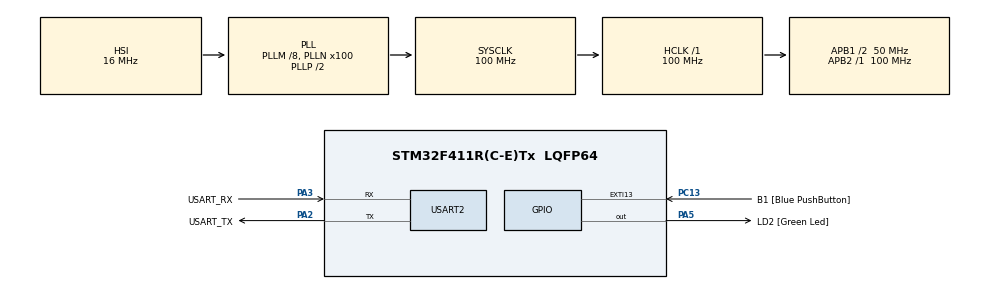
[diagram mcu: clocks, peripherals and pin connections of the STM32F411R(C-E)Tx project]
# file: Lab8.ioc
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Mcu.Family=STM32F4
Mcu.Name=STM32F411R(C-E)Tx
Mcu.Package=LQFP64
NVIC.EXTI15_10_IRQn=true\:0\:0\:false\:false\:true\:true\:true
NVIC.PriorityGroup=NVIC_PRIORITYGROUP_0
NVIC.TIM2_IRQn=true\:0\:0\:false\:false\:true\:true\:true
NVIC.USART2_IRQn=true\:0\:0\:false\:false\:true\:true\:true
PA13.GPIO_Label=TMS
PA13.Mode=Serial_Wire
PA13.Signal=SYS_JTMS-SWDIO
PA14.GPIO_Label=TCK
PA14.Mode=Serial_Wire
PA14.Signal=SYS_JTCK-SWCLK
PA2.GPIO_Label=USART_TX
PA2.Mode=Asynchronous
PA2.Signal=USART2_TX
PA3.GPIO_Label=USART_RX
PA3.Mode=Asynchronous
PA3.Signal=USART2_RX
PA5.GPIO_Label=LD2 [Green Led]
PA5.Signal=GPIO_Output
PB3.GPIO_Label=SWO
PB3.Signal=SYS_JTDO-SWO
PC13-ANTI_TAMP.GPIO_Label=B1 [Blue PushButton]
PC13-ANTI_TAMP.GPIO_ModeDefaultEXTI=GPIO_MODE_IT_RISING_FALLING
PC13-ANTI_TAMP.Signal=GPXTI13
PC14-OSC32_IN.Mode=LSE-External-Oscillator
PC14-OSC32_IN.Signal=RCC_OSC32_IN
PC15-OSC32_OUT.Mode=LSE-External-Oscillator
PC15-OSC32_OUT.Signal=RCC_OSC32_OUT
PH0\ -\ OSC_IN.Mode=HSE-External-Clock-Source
PH0\ -\ OSC_IN.Signal=RCC_OSC_IN
PH1\ -\ OSC_OUT.Mode=HSE-External-Clock-Source
PH1\ -\ OSC_OUT.Signal=RCC_OSC_OUT
ProjectManager.HeapSize=0x200
ProjectManager.StackSize=0x400
ProjectManager.TargetToolchain=STM32CubeIDE
RCC.48MHZClocksFreq_Value=50000000
RCC.AHBFreq_Value=100000000
RCC.APB1CLKDivider=RCC_HCLK_DIV2
RCC.APB1Freq_Value=50000000
RCC.APB1TimFreq_Value=100000000
RCC.APB2Freq_Value=100000000
RCC.APB2TimFreq_Value=100000000
RCC.CortexFreq_Value=100000000
RCC.FLatency-AdvancedSettings=FLASH_LATENCY_3
RCC.HCLKFreq_Value=100000000
RCC.HSE_VALUE=8000000
RCC.HSI_VALUE=16000000
RCC.PLLM=8
RCC.PLLN=100
RCC.SYSCLKFreq_VALUE=100000000
RCC.SYSCLKSource=RCC_SYSCLKSOURCE_PLLCLK
RCC.VCOOutputFreq_Value=200000000
TIM2.Prescaler=99
USART2.VirtualMode=VM_ASYNC
VP_TIM2_VS_ClockSourceINT.Mode=Internal
board=NUCLEO-F411RE

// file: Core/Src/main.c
/* USER CODE BEGIN Header */
/**
  ******************************************************************************
  * @file           : main.c
  * @brief          : Main program body
  ******************************************************************************
  * @attention
  *
  * <h2><center>&copy; Copyright (c) 2021 STMicroelectronics.
  * All rights reserved.</center></h2>
  *
  * This software component is licensed by ST under BSD 3-Clause license,
  * the "License"; You may not use this file except in compliance with the
  * License. You may obtain a copy of the License at:
  *                        opensource.org/licenses/BSD-3-Clause
  *
  ******************************************************************************
  */
/* USER CODE END Header */
#include "main.h"

/* USER CODE BEGIN Includes */
#include <stdio.h>
#include <string.h>

/* USER CODE END Includes */

TIM_HandleTypeDef htim2;

UART_HandleTypeDef huart2;

/* USER CODE BEGIN PV */
char TxDataBuffer[32] =
{ 0 };
char RxDataBuffer[32] =
{ 0 };

uint8_t STATE_Display = 0;
enum _StateDisplay //enum �?ทนคำเป็นตัวเลข
{
  StateDisplay_MenuRoot_Print =0, //หน้า menu
  StateDisplay_MenuRoot_WaitInput,
  StateDisplay_Menu0_WaitInput,
  StateDisplay_Menu1_WaitInput
};

uint8_t frequency = 1;
int on = 1;
uint64_t _micros = 0;
uint64_t timestamp = 0;
uint32_t LED_TOGGLE_DELAY = 500000; //0.5 second
int check = 0;

/* USER CODE END PV */

void SystemClock_Config(void);
static void MX_GPIO_Init(void);
static void MX_USART2_UART_Init(void);
static void MX_TIM2_Init(void);
/* USER CODE BEGIN PFP */
//void UARTRecieveAndResponsePolling();
int16_t UARTRecieveIT();
uint64_t micros();

/* USER CODE END PFP */

int main(void)
{

  /* MCU Configuration--------------------------------------------------------*/

  /* Reset of all peripherals, Initializes the Flash interface and the Systick. */
  HAL_Init();

  /* Configure the system clock */
  SystemClock_Config();

  /* Initialize all configured peripherals */
  MX_GPIO_Init();
  MX_USART2_UART_Init();
  MX_TIM2_Init();
  /* USER CODE BEGIN 2 */
  HAL_TIM_Base_Start_IT(&htim2);
  {
  	  //�?ำหนดข้อความ
  	  char temp[]="HELLO WORLD\r\n please type something to START UART\r\n";
  	  //ไม่ใส่ (uint8_t*) ได้�?ต่ขึ้น warning //1000 ms= timeout ถ้าเ�?ินจา�?นี้จะ fail
  	  HAL_UART_Transmit(&huart2, (uint8_t*) temp, strlen(temp), 1000); //polling
   }

  /* USER CODE END 2 */

  /* Infinite loop */
  while (1)
  {

    /* USER CODE BEGIN 3 */
	  if (micros() - timestamp >= LED_TOGGLE_DELAY/frequency && on ==1)
	  			{
	  				timestamp = micros();
	  				HAL_GPIO_TogglePin(LD2_GPIO_Port, LD2_Pin);
	  			}

	  HAL_UART_Receive_IT(&huart2,  (uint8_t*)RxDataBuffer, 32);
	  int16_t inputchar = UARTRecieveIT();
	  if(inputchar!=-1)
	  {
		  sprintf(TxDataBuffer, "ReceivedChar:[%c]\r\n", inputchar);
	  	  HAL_UART_Transmit(&huart2, (uint8_t*)TxDataBuffer, strlen(TxDataBuffer), 1000);
	  	  switch(STATE_Display)
	  		{
	  	  	  case StateDisplay_MenuRoot_Print:
				  {
					  char temp1[]="\n"
							  "Frequency default is 1 Hz\r\n"
							  "************\r\n"
							  "   Menu   \r\n"
							  "************\r\n"
							  "Menu 0: LED Control\r\n"
							  "Menu 1: Button Status\r\n"
							  "\n";
					  HAL_UART_Transmit(&huart2, (uint8_t*) temp1, strlen(temp1), 1000);
				  }
	  	  		  STATE_Display = StateDisplay_MenuRoot_WaitInput;
	  	  		  break;

	  	  	  case StateDisplay_MenuRoot_WaitInput:
	  	  		  switch (inputchar)
	  	  		  {

	  	  		  	  case '0':
	  	  		  	  {
	  	  		  	  	 char temp2[]="************\r\n"
	  	  		  	  	  				"Menu 0 : LED Control\r\n"
	  	  		  	  	  				 "************\r\n"
	  	  		  	  	  				"a:Speed Up +1Hz\r\n"
	  	  		  	  	  	  			"************\r\n"
	  	  		  	  	  	  			"s:Speed Down -1Hz\r\n"
	  	  		  	  	  	  			"************\r\n"
	  	  		  	  	  	  			"d:On/Off\r\n"
	  	  		  	  	  	  			"************\r\n"
	  	  		  	  	  	  			"x:Back\r\n"
	  	  		  	  	  				"\n";
	  	  		  	  	  	HAL_UART_Transmit(&huart2, (uint8_t*) temp2, strlen(temp2), 1000);
	  	  		  	  	}
	  	  		  		  STATE_Display = StateDisplay_Menu0_WaitInput;
	  	  		  		  break;

	  	  		  	  case '1':
	  	  		  	  {
	  	  		  		  char temp3[]="************\r\n"
	  	  		  				  	  "Menu 1: Button Status\r\n"
	  	  		  	  	  		  	  "************\r\n"
	  	  		  	  	  		  	  "x:Back\r\n"
	  	  		  	  	  		  	  "************\r\n"
	  	  		  	  	  		  	  "Press/Unpress button to show status\r\n"
	  	  		  	  	  		  	  "************\r\n"
	  	  		  	  	  		  	  "\n";
	  	  		  	  	  HAL_UART_Transmit(&huart2, (uint8_t*) temp3, strlen(temp3), 1000);
	  	  		  	  	}
	  	  		  		  STATE_Display = StateDisplay_Menu1_WaitInput;
	  	  		  		  break;

	  	  		  	  default:
	  	  		  		  sprintf(TxDataBuffer,"unidentified input\r\n");
	  	  		  		  HAL_UART_Transmit(&huart2, (uint8_t*)TxDataBuffer, strlen(TxDataBuffer), 1000);
	  	  		  		  STATE_Display = StateDisplay_MenuRoot_WaitInput;
	  	  		  		  break;
	  	  		  }
	  	  		  break;

	  		  	case StateDisplay_Menu0_WaitInput:
	  		  		switch (inputchar)
	  		  		  {

	  		  		  	case 'a':
	  		  		  		  frequency += 1;
	  		  		  		  sprintf(TxDataBuffer,"Frequency is %d Hz\r\n",frequency);
	  		  		  		  HAL_UART_Transmit(&huart2, (uint8_t*)TxDataBuffer, strlen(TxDataBuffer), 1000);
	  		  		  		  STATE_Display = StateDisplay_Menu0_WaitInput;
	  		  		  		  break;

	  		  		  	case 's':
	  		  		  		  if (frequency > 1)
	  		  		  		  {
	  		  		  		  	frequency -= 1;
	  		  		  		  	sprintf(TxDataBuffer,"Frequency is %d Hz\r\n",frequency);
	  		  		  		  	HAL_UART_Transmit(&huart2, (uint8_t*)TxDataBuffer, strlen(TxDataBuffer), 1000);
	  		  		  		  }
	  		  		  		  else
								{
									sprintf(TxDataBuffer,"Frequency is limited\r\n");
									HAL_UART_Transmit(&huart2, (uint8_t*)TxDataBuffer, strlen(TxDataBuffer), 1000);
								}
	  		  		  		  STATE_Display = StateDisplay_Menu0_WaitInput;
	  		  		  		  break;

	  		  		  	case 'd':
	  		  		  		 if (on == 1)
	  		  		  		 {
	  		  		  		   on =0;
	  		  		  		   sprintf(TxDataBuffer,"LED Off\r\n");
	  		  		  		   HAL_UART_Transmit(&huart2, (uint8_t*)TxDataBuffer, strlen(TxDataBuffer), 1000);
	  		  		  		   HAL_GPIO_WritePin(LD2_GPIO_Port, LD2_Pin, 0);
	  		  		  		 }
	  		  		  		 else
	  		  		  		 {
	  		  		  		  	on = 1;
	  		  		  		  	sprintf(TxDataBuffer,"LED On\r\n");
	  		  		  			 HAL_UART_Transmit(&huart2, (uint8_t*)TxDataBuffer, strlen(TxDataBuffer), 1000);
	  		  		  		  }
	  		  		  		  STATE_Display = StateDisplay_Menu0_WaitInput;
	  		  		  		  break;

	  		  		  	case 'x':
	  		  		  			{
	  		  		  				char temp4[]="\n"
	  		  		  					"************\r\n"
	  		  							"   Menu   \r\n"
	  		  							"************\r\n"
	  		  							"Menu 0: LED Control\r\n"
	  		  							"Menu 1: Button Status\r\n"
	  		  							"\n";
	  		  						HAL_UART_Transmit(&huart2, (uint8_t*) temp4, strlen(temp4), 1000);
	  		  					}
	  		  		  		  STATE_Display = StateDisplay_MenuRoot_WaitInput;
	  		  		  		  break;

	  		  		  	default:
	  		  		  		  sprintf(TxDataBuffer,"unidentified input\r\n");
	  		  		  		  HAL_UART_Transmit(&huart2, (uint8_t*)TxDataBuffer, strlen(TxDataBuffer), 1000);
	  		  		  		  STATE_Display = StateDisplay_Menu0_WaitInput;
	  		  		  		  break;
	  		  		  	}
	  		  		break;

	  		  	 case StateDisplay_Menu1_WaitInput:
	  		  		 switch(inputchar)
	  		  		 {
	  		  		 	 case 'x':
	  		  		 	 	 {
	  		  		 	 		 char temp4[]= "\n"
	  		  		 	 				 "************\r\n"
	  		  		 	  		  				"   Menu   \r\n"
	  		  		 	  		  				"************\r\n"
	  		  		 	  		  				"Menu 0: LED Control\r\n"
	  		  		 	  		  				"Menu 1: Button Status\r\n"
	  		  		 	  		  				"\n";
	  		  		 	  		  HAL_UART_Transmit(&huart2, (uint8_t*) temp4, strlen(temp4), 1000);
	  		  		 	  	}
	  		  		 	  	STATE_Display = StateDisplay_MenuRoot_WaitInput;
	  		  		 		 break;

	  		  			default:
	  		  				sprintf(TxDataBuffer,"unidentified input\r\n");
	  		  				HAL_UART_Transmit(&huart2, (uint8_t*)TxDataBuffer, strlen(TxDataBuffer), 1000);
	  		  				STATE_Display = StateDisplay_Menu1_WaitInput;
	  		  				break;
	  		  		}
	  		}

	  }
  }
  /* USER CODE END 3 */
}

void SystemClock_Config(void)
{
  RCC_OscInitTypeDef RCC_OscInitStruct = {0};
  RCC_ClkInitTypeDef RCC_ClkInitStruct = {0};

  /** Configure the main internal regulator output voltage
  */
  __HAL_RCC_PWR_CLK_ENABLE();
  __HAL_PWR_VOLTAGESCALING_CONFIG(PWR_REGULATOR_VOLTAGE_SCALE1);
  /** Initializes the RCC Oscillators according to the specified parameters
  * in the RCC_OscInitTypeDef structure.
  */
  RCC_OscInitStruct.OscillatorType = RCC_OSCILLATORTYPE_HSI;
  RCC_OscInitStruct.HSIState = RCC_HSI_ON;
  RCC_OscInitStruct.HSICalibrationValue = RCC_HSICALIBRATION_DEFAULT;
  RCC_OscInitStruct.PLL.PLLState = RCC_PLL_ON;
  RCC_OscInitStruct.PLL.PLLSource = RCC_PLLSOURCE_HSI;
  RCC_OscInitStruct.PLL.PLLM = 8;
  RCC_OscInitStruct.PLL.PLLN = 100;
  RCC_OscInitStruct.PLL.PLLP = RCC_PLLP_DIV2;
  RCC_OscInitStruct.PLL.PLLQ = 4;
  if (HAL_RCC_OscConfig(&RCC_OscInitStruct) != HAL_OK)
  {
    Error_Handler();
  }
  /** Initializes the CPU, AHB and APB buses clocks
  */
  RCC_ClkInitStruct.ClockType = RCC_CLOCKTYPE_HCLK|RCC_CLOCKTYPE_SYSCLK
                              |RCC_CLOCKTYPE_PCLK1|RCC_CLOCKTYPE_PCLK2;
  RCC_ClkInitStruct.SYSCLKSource = RCC_SYSCLKSOURCE_PLLCLK;
  RCC_ClkInitStruct.AHBCLKDivider = RCC_SYSCLK_DIV1;
  RCC_ClkInitStruct.APB1CLKDivider = RCC_HCLK_DIV2;
  RCC_ClkInitStruct.APB2CLKDivider = RCC_HCLK_DIV1;

  if (HAL_RCC_ClockConfig(&RCC_ClkInitStruct, FLASH_LATENCY_3) != HAL_OK)
  {
    Error_Handler();
  }
}

static void MX_TIM2_Init(void)
{

  TIM_ClockConfigTypeDef sClockSourceConfig = {0};
  TIM_MasterConfigTypeDef sMasterConfig = {0};

  htim2.Instance = TIM2;
  htim2.Init.Prescaler = 99;
  htim2.Init.CounterMode = TIM_COUNTERMODE_UP;
  htim2.Init.Period = 4294967295;
  htim2.Init.ClockDivision = TIM_CLOCKDIVISION_DIV1;
  htim2.Init.AutoReloadPreload = TIM_AUTORELOAD_PRELOAD_DISABLE;
  if (HAL_TIM_Base_Init(&htim2) != HAL_OK)
  {
    Error_Handler();
  }
  sClockSourceConfig.ClockSource = TIM_CLOCKSOURCE_INTERNAL;
  if (HAL_TIM_ConfigClockSource(&htim2, &sClockSourceConfig) != HAL_OK)
  {
    Error_Handler();
  }
  sMasterConfig.MasterOutputTrigger = TIM_TRGO_RESET;
  sMasterConfig.MasterSlaveMode = TIM_MASTERSLAVEMODE_DISABLE;
  if (HAL_TIMEx_MasterConfigSynchronization(&htim2, &sMasterConfig) != HAL_OK)
  {
    Error_Handler();
  }

}

static void MX_USART2_UART_Init(void)
{

  huart2.Instance = USART2;
  huart2.Init.BaudRate = 115200;
  huart2.Init.WordLength = UART_WORDLENGTH_8B;
  huart2.Init.StopBits = UART_STOPBITS_1;
  huart2.Init.Parity = UART_PARITY_NONE;
  huart2.Init.Mode = UART_MODE_TX_RX;
  huart2.Init.HwFlowCtl = UART_HWCONTROL_NONE;
  huart2.Init.OverSampling = UART_OVERSAMPLING_16;
  if (HAL_UART_Init(&huart2) != HAL_OK)
  {
    Error_Handler();
  }

}

static void MX_GPIO_Init(void)
{
  GPIO_InitTypeDef GPIO_InitStruct = {0};

  /* GPIO Ports Clock Enable */
  __HAL_RCC_GPIOC_CLK_ENABLE();
  __HAL_RCC_GPIOH_CLK_ENABLE();
  __HAL_RCC_GPIOA_CLK_ENABLE();
  __HAL_RCC_GPIOB_CLK_ENABLE();

  /*Configure GPIO pin Output Level */
  HAL_GPIO_WritePin(LD2_GPIO_Port, LD2_Pin, GPIO_PIN_RESET);

  /*Configure GPIO pin : B1_Pin */
  GPIO_InitStruct.Pin = B1_Pin;
  GPIO_InitStruct.Mode = GPIO_MODE_IT_RISING_FALLING;
  GPIO_InitStruct.Pull = GPIO_NOPULL;
  HAL_GPIO_Init(B1_GPIO_Port, &GPIO_InitStruct);

  /*Configure GPIO pin : LD2_Pin */
  GPIO_InitStruct.Pin = LD2_Pin;
  GPIO_InitStruct.Mode = GPIO_MODE_OUTPUT_PP;
  GPIO_InitStruct.Pull = GPIO_NOPULL;
  GPIO_InitStruct.Speed = GPIO_SPEED_FREQ_LOW;
  HAL_GPIO_Init(LD2_GPIO_Port, &GPIO_InitStruct);

  /* EXTI interrupt init*/
  HAL_NVIC_SetPriority(EXTI15_10_IRQn, 0, 0);
  HAL_NVIC_EnableIRQ(EXTI15_10_IRQn);

}

/* USER CODE BEGIN 4 */
//void UARTRecieveAndResponsePolling()
//{
//	//create buffer
//	char Recieve[32]={0};
//
//	//start recieve in polling mode
//	HAL_UART_Receive(&huart2, (uint8_t*)Recieve, 32, 1000);
//
//	//create feedback text
//	sprintf(TxDataBuffer, "Received:[%s]\r\n", Recieve); //string printf //print ลงใน TxDataBuffer
//
//	//second text //response ว่าได้รับ�?ล้ว
//	HAL_UART_Transmit(&huart2, (uint8_t*)TxDataBuffer, strlen(TxDataBuffer), 1000);
//
//}

int16_t UARTRecieveIT()
{
	//store data last position
	static uint32_t dataPos =0;
	//create dummy data
	int16_t data=-1;
	//check pos in buffer vs last position
	//32 size - จำนวนที่เหลือ = ตำ�?หน่งปัจจุบัน
	//มี�?ารพิมพ์ตำ�?หน่งจะไม่เท่า�?ัน
	if(huart2.RxXferSize - huart2.RxXferCount!=dataPos)
	{
		//read data from buffer
		data=RxDataBuffer[dataPos];

		//move to next pos //ตำ�?หน่งข้อมูลล่าสุดที่อ่าน
		dataPos= (dataPos+1)%huart2.RxXferSize;
	}
	return data;
}

void HAL_UART_RxCpltCallback(UART_HandleTypeDef *huart)
{
	//if(huart == huartxx) ถ้ามีหลายตัว
	sprintf(TxDataBuffer, "Received:[%s]\r\n", RxDataBuffer);
	HAL_UART_Transmit_IT(&huart2, (uint8_t*)TxDataBuffer, strlen(TxDataBuffer));
	//HAL_UART_Transmit_IT ถ้าข้อมูลส่งเร็วไปข้อมูลแรกยังทำงานไม่เสร็จ ข้อมูลต่อมาจะขาดหาย โค้ดบัค
}

void HAL_TIM_PeriodElapsedCallback(TIM_HandleTypeDef *htim)
{
	if (htim == &htim2)
	{
		_micros += 4294967295;
	}
}

uint64_t micros()
{
	return _micros + htim2.Instance->CNT;
}

void HAL_GPIO_EXTI_Callback(uint16_t GPIO_Pin) //Interrupt
{
	if (GPIO_Pin == GPIO_PIN_13 && STATE_Display == StateDisplay_Menu1_WaitInput)
	{
		if (HAL_GPIO_ReadPin(GPIOC, GPIO_PIN_13) == GPIO_PIN_RESET) //falling
		{
			sprintf(TxDataBuffer,"Pressed Button\r\n");
			HAL_UART_Transmit(&huart2, (uint8_t*)TxDataBuffer, strlen(TxDataBuffer), 1000);
			STATE_Display = StateDisplay_Menu1_WaitInput;
		}
		else //rising
		{
			sprintf(TxDataBuffer,"Unpressed Button\r\n");
			HAL_UART_Transmit(&huart2, (uint8_t*)TxDataBuffer, strlen(TxDataBuffer), 1000);
			STATE_Display = StateDisplay_Menu1_WaitInput;
		}
	}
}

/* USER CODE END 4 */

void Error_Handler(void)
{
  __disable_irq();
  while (1)
  {
  }
}

/************************ (C) COPYRIGHT STMicroelectronics *****END OF FILE****/
